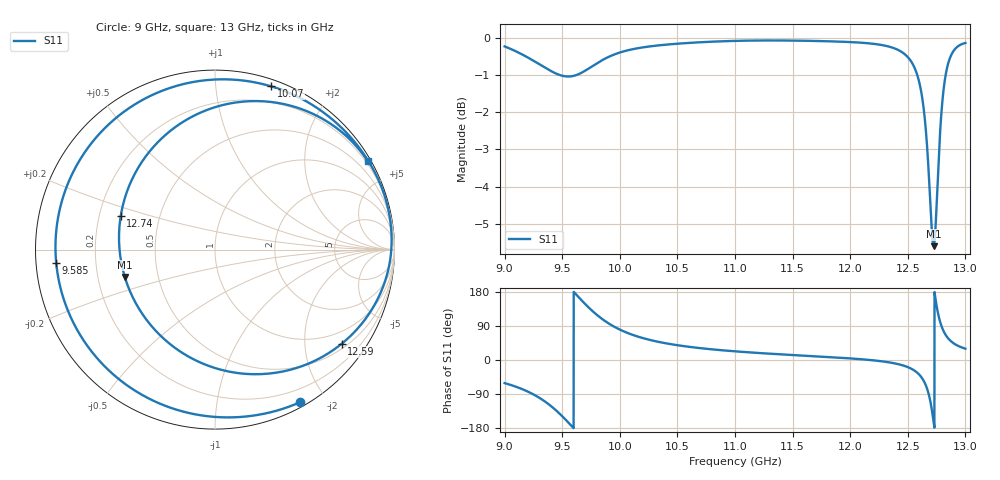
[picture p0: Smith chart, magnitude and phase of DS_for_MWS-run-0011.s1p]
! TOUCHSTONE file generated by CST DESIGN STUDIO
! Date and time: Tue Feb  4 12:42:37 2025
! Project name: C:\Work\MatlabApps\UnitCellOptimizationMatlab\CST\unitcell.cst
! Tree item: Tasks\Sweep1\SPara1\S-Parameters
! Header version: 2024
! Port assignment regex: !\s*Touchstone port\s*([0-9]+)\s*=\s*(CST MWS port|CST DES external port|CST DES block port)\s*(.+)\s* \(\"(.*)\"\)(\s*mode\s*([0-9]+))?.*
! Touchstone port assignment:
! Touchstone port 1 = CST DES external port 1 ("")
# GHz S MA R 50
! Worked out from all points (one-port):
!   4001 points, 9 GHz to 13 GHz, reference 50 ohm
!   lowest |S11| = -5.6 dB at 12.72 GHz (marker M1), VSWR 3.21, Z = 15.9 - j6.66 ohm
!   |S11| at or under -10 dB: nowhere
!   S11 on the Smith chart (normalised r, x): 9 GHz: 0.05, -1.70; 9.585 GHz: 0.06, -0.04; 10.07 GHz: 0.06, +1.40; 12.59 GHz: 0.63, -2.90; 12.74 GHz: 0.29, +0.16; 13 GHz: 0.12, +3.74
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9  0.9734 -60.9
9.156  0.9489 -77.3
9.307  0.9201 -100.8
9.408  0.9011 -122.9
9.5  0.8891 -148.3
9.585  0.8878 -175.3
9.675  0.8985 155.3
9.787  0.9211 122.7
9.882  0.939 100.7
10  0.9551 80.3
10.07  0.9618 71.0
10.257  0.9733 53.3
10.5  0.9815 39.0
11  0.9901 22.9
11.5  0.991 13.1
12  0.9865 4.2
12.312  0.9749 -5.0
12.5  0.9418 -18.8
12.593  0.8793 -36.6
12.637  0.8054 -54.4
12.675  0.6861 -82.9
12.699  0.5856 -114.3
12.724  0.5252 -163.2
12.741  0.5577 160.4
12.773  0.7123 109.2
12.807  0.8421 78.5
12.881  0.9506 47.9
13  0.9837 29.9
